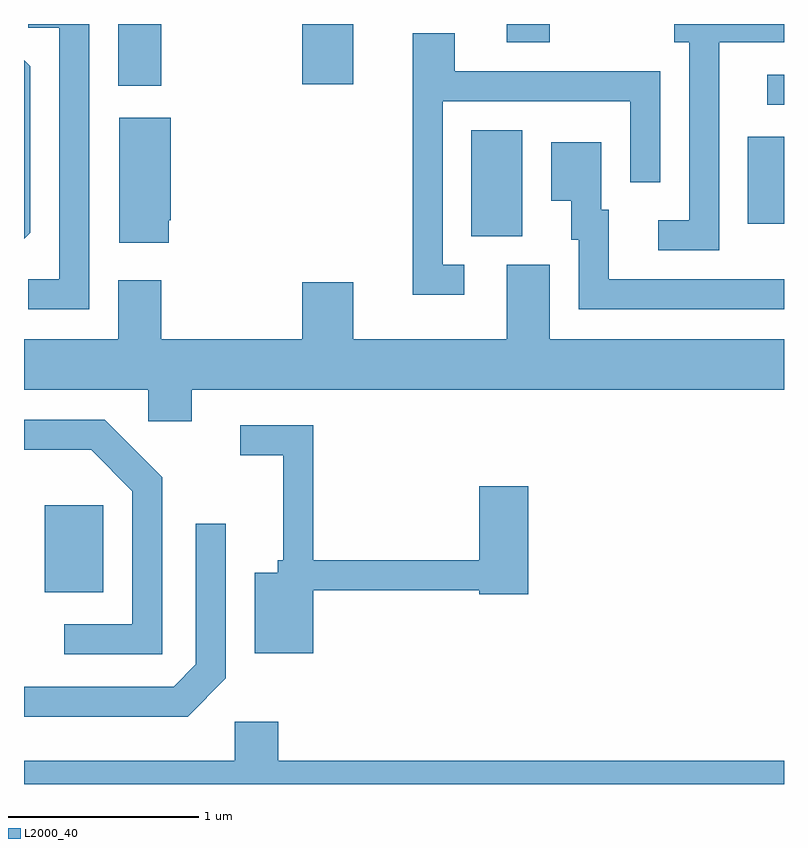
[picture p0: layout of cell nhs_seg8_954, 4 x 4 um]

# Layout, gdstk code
import gdstk
lib = gdstk.Library(unit=1e-6, precision=1e-09)
def R(c, l, rs):  # rectangles x0, y0, x1, y1
    for r in rs: c.add(gdstk.rectangle(r[:2], r[2:], *l))
def P(c, l, *ps):  # polygons
    for p in ps: c.add(gdstk.Polygon(p, *l))
L2000_40 = (2000, 40)

nhs_seg8_954 = lib.new_cell('nhs_seg8_954')
R(nhs_seg8_954, L2000_40, [(213.721,1835.351,214.029,1835.809), (215.966,1837.226,216.234,1837.784), (217.421,1837.291,217.611,1837.749), (217.523,1837.916,217.611,1838.074), (214.106,1838.016,214.334,1838.342), (215.076,1838.026,215.344,1838.342), (216.151,1838.246,216.379,1838.342)])
P(nhs_seg8_954, L2000_40, [(213.954,1838.342),(213.633,1838.342),(213.633,1838.321),(213.796,1838.321),(213.796,1836.999),(213.633,1836.999),(213.633,1836.841),(213.954,1836.841)],
  [(217.269,1838.246),(217.611,1838.246),(217.611,1838.342),(217.033,1838.342),(217.033,1838.246),(217.111,1838.246),(217.111,1837.309),(216.948,1837.309),(216.948,1837.151),(217.269,1837.151)],
  [(215.928,1837.074),(215.814,1837.074),(215.814,1837.936),(216.801,1837.936),(216.801,1837.508),(216.959,1837.508),(216.959,1838.094),(215.879,1838.094),(215.879,1838.294),(215.656,1838.294),(215.656,1836.916),(215.928,1836.916)],
  [(213.644,1837.244),(213.644,1838.119),(213.611,1838.152),(213.611,1837.211)],
  [(214.374,1837.31),(214.384,1837.31),(214.384,1837.849),(214.111,1837.849),(214.111,1837.191),(214.374,1837.191)],
  [(217.611,1836.999),(216.689,1836.999),(216.689,1837.364),(216.649,1837.364),(216.649,1837.719),(216.386,1837.719),(216.386,1837.411),(216.491,1837.411),(216.491,1837.206),(216.531,1837.206),(216.531,1836.841),(217.611,1836.841)],
  [(214.494,1836.416),(217.611,1836.416),(217.611,1836.684),(216.379,1836.684),(216.379,1837.074),(216.151,1837.074),(216.151,1836.684),(215.344,1836.684),(215.344,1836.984),(215.076,1836.984),(215.076,1836.684),(214.334,1836.684),(214.334,1836.994),(214.106,1836.994),(214.106,1836.684),(213.611,1836.684),(213.611,1836.416),(214.266,1836.416),(214.266,1836.251),(214.494,1836.251)],
  [(214.339,1835.957),(214.037,1836.259),(213.611,1836.259),(213.611,1836.101),(213.964,1836.101),(214.181,1835.884),(214.181,1835.184),(213.823,1835.184),(213.823,1835.026),(214.339,1835.026)],
  [(215.134,1835.361),(216.006,1835.361),(216.006,1835.341),(216.264,1835.341),(216.264,1835.909),(216.006,1835.909),(216.006,1835.519),(215.134,1835.519),(215.134,1836.229),(214.748,1836.229),(214.748,1836.071),(214.976,1836.071),(214.976,1835.519),(214.946,1835.519),(214.946,1835.454),(214.826,1835.454),(214.826,1835.031),(215.134,1835.031)],
  [(214.674,1834.899),(214.674,1835.713),(214.516,1835.713),(214.516,1834.972),(214.399,1834.854),(213.611,1834.854),(213.611,1834.696),(214.472,1834.696)],
  [(217.611,1834.464),(214.949,1834.464),(214.949,1834.669),(214.721,1834.669),(214.721,1834.464),(213.611,1834.464),(213.611,1834.342),(217.611,1834.342)])

lib.write_gds('nhs_seg8_954.gds')
